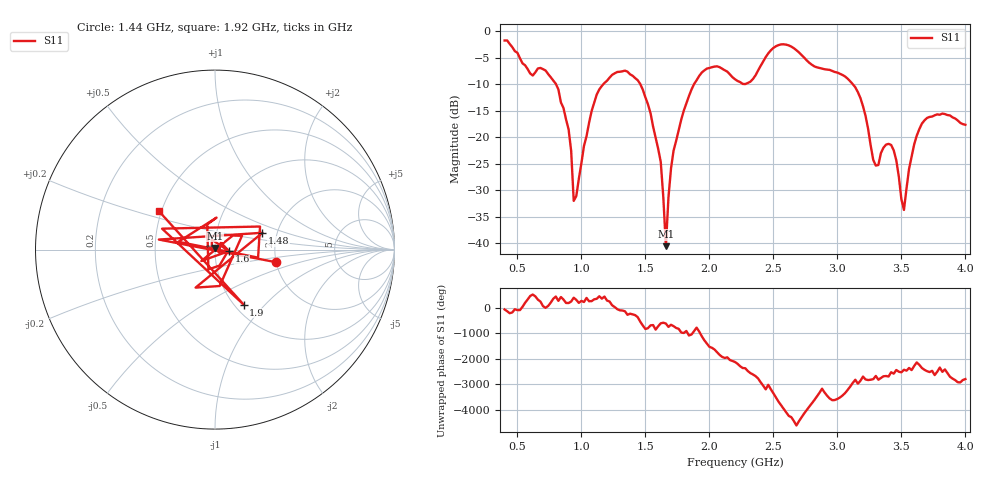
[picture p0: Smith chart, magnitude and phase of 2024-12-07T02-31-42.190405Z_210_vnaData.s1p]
!Created with skrf (http://scikit-rf.org).
# Hz S RI R 50.0
!freq ReS11 ImS11
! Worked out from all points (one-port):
!   181 points, 400 MHz to 4 GHz, reference 50 ohm
!   lowest |S11| = -40.6 dB at 1.66 GHz (marker M1), VSWR 1.02, Z = 49.9 + j0.922 ohm
!   |S11| at or under -10 dB: 801.7 MHz to 1.171 GHz (369.3 MHz wide, 37.4 % of centre); 1.461 GHz to 1.88 GHz (418.7 MHz wide, 25.1 % of centre); 3.121 GHz to end of sweep
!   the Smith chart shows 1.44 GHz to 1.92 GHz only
!   S11 on the Smith chart (normalised r, x): 1.44 GHz: 1.99, -0.32; 1.48 GHz: 1.68, +0.34; 1.6 GHz: 1.17, -0.02; 1.9 GHz: 1.10, -0.77; 1.92 GHz: 0.48, +0.24
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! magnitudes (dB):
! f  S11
! 400 MHz  -1.7
! 620 MHz  -8.3
! 720 MHz  -7.4
! 860 MHz  -14.5
! 920 MHz  -22.6
! 940 MHz  -32.0
! 1.12 GHz  -11.9
! 1.3 GHz  -7.6
! 1.44 GHz  -9.2
! 1.48 GHz  -11.0
! 1.6 GHz  -22.2
! 1.62 GHz  -24.7
! 1.66 GHz  -40.6
! 1.7 GHz  -25.9
! 1.76 GHz  -18.7
! 1.9 GHz  -9.2
! 1.92 GHz  -8.4
! 2.2 GHz  -9.0
! 2.66 GHz  -3.2
! 3.1 GHz  -9.4
! 3.2 GHz  -14.1
! 3.3 GHz  -25.4
! 3.38 GHz  -21.4
! 3.44 GHz  -22.5
! 3.52 GHz  -33.7
! 3.56 GHz  -26.0
! 3.7 GHz  -16.4
! 4 GHz  -17.7
